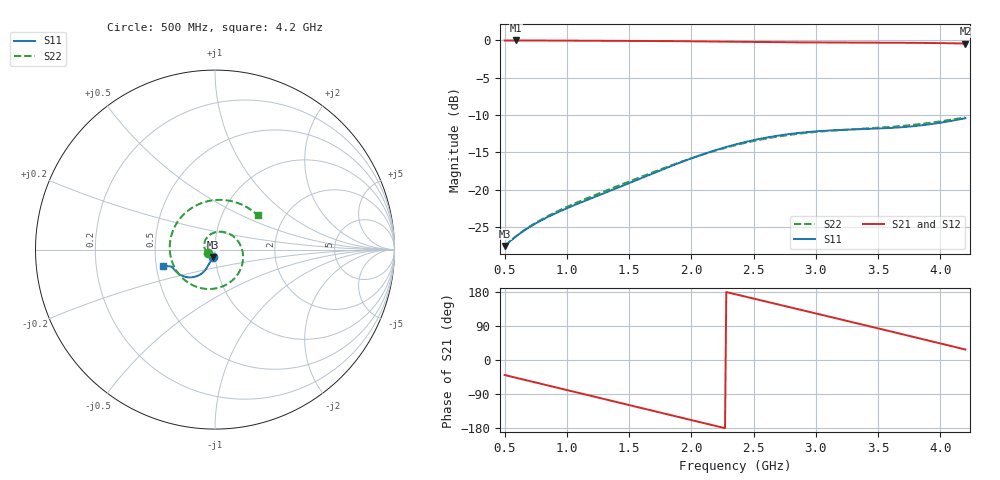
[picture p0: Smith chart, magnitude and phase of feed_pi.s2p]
! Created with skrf 2.1.0 (http://scikit-rf.org).
# Hz S RI R 50.0
!freq ReS11 ImS11 ReS21 ImS21 ReS12 ImS12 ReS22 ImS22
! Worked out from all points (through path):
!   371 points, 500 MHz to 4.2 GHz, reference 50 ohm
!   highest |S21| = -0.01 dB at 590 MHz (marker M1); lowest = -0.4 dB at 4.2 GHz (marker M2)
!   group delay of S21, straight-line fit = 219 ps
!   lowest |S11| = -27.6 dB at 500 MHz (marker M3), VSWR 1.09, Z = 48.8 - j3.98 ohm
!   |S11| at or under -10 dB: start of sweep to end of sweep
!   |S22| runs from -27.6 to -10.3 dB; largest |S21 - S12| = 0.0028
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5e8  -0.0101 -0.0407  0.7696 -0.6368  0.7695 -0.6368  -0.0383 -0.0167
5.9e8  -0.0133 -0.0467  0.6846 -0.7275  0.6846 -0.7276  -0.0477 -0.00946
8.6e8  -0.0232 -0.0623  0.3713 -0.9259  0.3712 -0.9258  -0.06 0.0307
1.12e9  -0.0317 -0.0762  0.0217 -0.9964  0.0216 -0.9962  -0.0349 0.0772
1.27e9  -0.0364 -0.0851  -0.184 -0.9784  -0.1839 -0.9781  -0.00269 0.0952
1.42e9  -0.0418 -0.0951  -0.3814 -0.9185  -0.3811 -0.9182  0.0385 0.0996
1.58e9  -0.0493 -0.107  -0.5732 -0.8108  -0.5728 -0.8107  0.0853 0.085
1.74e9  -0.0594 -0.1197  -0.7358 -0.6635  -0.7353 -0.6636  0.1262 0.0495
1.9e9  -0.0729 -0.1322  -0.8615 -0.4844  -0.8611 -0.4848  0.1518 -0.00366
2.05e9  -0.0889 -0.1424  -0.9402 -0.2957  -0.94 -0.2964  0.1552 -0.0633
2.2e9  -0.1075 -0.15  -0.9778 -0.096  -0.978 -0.0966  0.1352 -0.1237
2.35e9  -0.1281 -0.1542  -0.9737 0.1062  -0.9742 0.1057  0.0921 -0.1755
2.65e9  -0.1699 -0.1504  -0.8449 0.4837  -0.8455 0.484  -0.0445 -0.2192
2.97e9  -0.2061 -0.1319  -0.5577 0.7926  -0.5574 0.7933  -0.1949 -0.1441
3.13e9  -0.2187 -0.1205  -0.3716 0.8937  -0.3708 0.8941  -0.2403 -0.0639
3.28e9  -0.2274 -0.1104  -0.1809 0.95  -0.1798 0.9498  -0.252 0.026
3.44e9  -0.2343 -0.1018  0.0312 0.9657  0.032 0.9647  -0.2263 0.1237
3.59e9  -0.2401 -0.0964  0.2293 0.9377  0.2294 0.9362  -0.1668 0.2032
3.74e9  -0.2469 -0.0937  0.4176 0.8687  0.4168 0.867  -0.079 0.2577
3.9e9  -0.257 -0.0928  0.5975 0.753  0.5957 0.7518  0.0339 0.2771
4.05e9  -0.2702 -0.0922  0.738 0.6104  0.7355 0.6103  0.1428 0.2536
4.2e9  -0.2872 -0.09  0.8442 0.442  0.8417 0.4432  0.2386 0.1903
